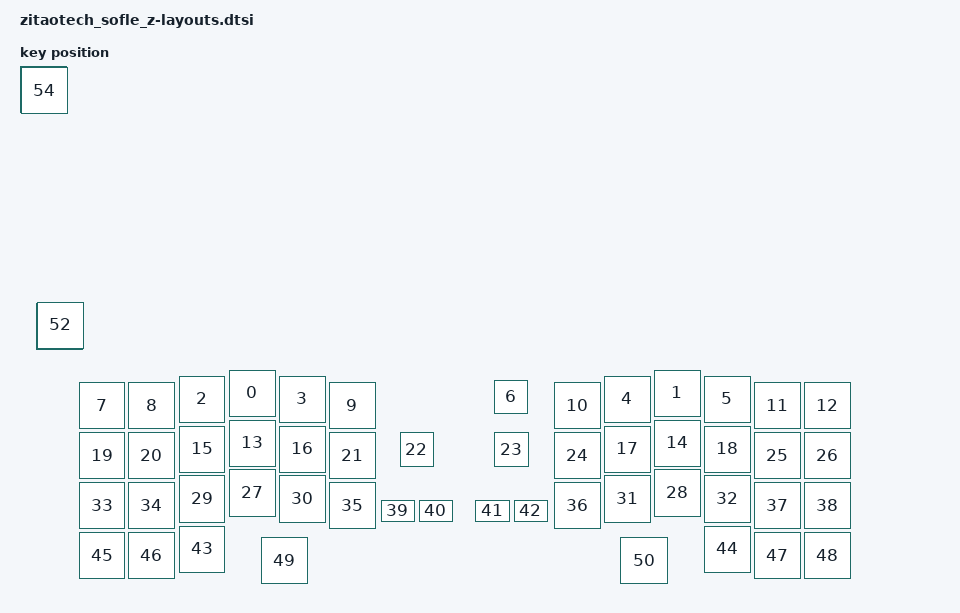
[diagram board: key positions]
#include <physical_layouts.dtsi>
#include <dt-bindings/zmk/matrix_transform.h>

/ {
    zitaotech_sofle_z_layout: zitaotech_sofle_z_layout {
        compatible = "zmk,physical-layout";
        display-name = "zitaotech_sofle_z";

        kscan = <&kscan0>;
        transform = <&matrix_transform0>;

        keys  //                     w   h    x    y     rot    rx    ry
            = <&key_physical_attrs 100 100  418  608       0     0     0>
            , <&key_physical_attrs 100 100 1268  608       0     0     0>
            , <&key_physical_attrs 100 100  318  620       0     0     0>
            , <&key_physical_attrs 100 100  518  620       0     0     0>
            , <&key_physical_attrs 100 100 1168  620       0     0     0>
            , <&key_physical_attrs 100 100 1368  620       0     0     0>
            , <&key_physical_attrs  72  75  950  628       0     0     0>
            , <&key_physical_attrs 100 100  118  633       0     0     0>
            , <&key_physical_attrs 100 100  217  633       0     0     0>
            , <&key_physical_attrs 100 100  618  633       0     0     0>
            , <&key_physical_attrs 100 100 1068  633       0     0     0>
            , <&key_physical_attrs 100 100 1468  633       0     0     0>
            , <&key_physical_attrs 100 100 1568  633       0     0     0>
            , <&key_physical_attrs 100 100  418  708       0     0     0>
            , <&key_physical_attrs 100 100 1268  708       0     0     0>
            , <&key_physical_attrs 100 100  318  720       0     0     0>
            , <&key_physical_attrs 100 100  518  720       0     0     0>
            , <&key_physical_attrs 100 100 1168  720       0     0     0>
            , <&key_physical_attrs 100 100 1368  720       0     0     0>
            , <&key_physical_attrs 100 100  118  733       0     0     0>
            , <&key_physical_attrs 100 100  217  733       0     0     0>
            , <&key_physical_attrs 100 100  618  733       0     0     0>
            , <&key_physical_attrs  75  75  760  733       0     0     0>
            , <&key_physical_attrs  75  75  950  733       0     0     0>
            , <&key_physical_attrs 100 100 1068  733       0     0     0>
            , <&key_physical_attrs 100 100 1468  733       0     0     0>
            , <&key_physical_attrs 100 100 1568  733       0     0     0>
            , <&key_physical_attrs 100 100  418  808       0     0     0>
            , <&key_physical_attrs 100 100 1268  808       0     0     0>
            , <&key_physical_attrs 100 100  318  820       0     0     0>
            , <&key_physical_attrs 100 100  518  820       0     0     0>
            , <&key_physical_attrs 100 100 1168  820       0     0     0>
            , <&key_physical_attrs 100 100 1368  820       0     0     0>
            , <&key_physical_attrs 100 100  118  833       0     0     0>
            , <&key_physical_attrs 100 100  217  833       0     0     0>
            , <&key_physical_attrs 100 100  618  833       0     0     0>
            , <&key_physical_attrs 100 100 1068  833       0     0     0>
            , <&key_physical_attrs 100 100 1468  833       0     0     0>
            , <&key_physical_attrs 100 100 1568  833       0     0     0>
            , <&key_physical_attrs  75  50  722  869       0     0     0>
            , <&key_physical_attrs  75  50  798  869       0     0     0>
            , <&key_physical_attrs  75  50  912  869       0     0     0>
            , <&key_physical_attrs  75  50  988  869       0     0     0>
            , <&key_physical_attrs 100 100  318  920       0     0     0>
            , <&key_physical_attrs 100 100 1368  920       0     0     0>
            , <&key_physical_attrs 100 100  118  933       0     0     0>
            , <&key_physical_attrs 100 100  217  933       0     0     0>
            , <&key_physical_attrs 100 100 1468  933       0     0     0>
            , <&key_physical_attrs 100 100 1568  933       0     0     0>
            , <&key_physical_attrs 100 100  483  943       0     0     0>
            , <&key_physical_attrs 100 100 1202  943       0     0     0>
            , <&key_physical_attrs 100 100   33  475       0     0     0>
            , <&key_physical_attrs 100 100   35  472       0     0     0>
            , <&key_physical_attrs 100 100    0    0       0     0     0>
            , <&key_physical_attrs 100 100    2    3       0     0     0>
            ;
    };
};



